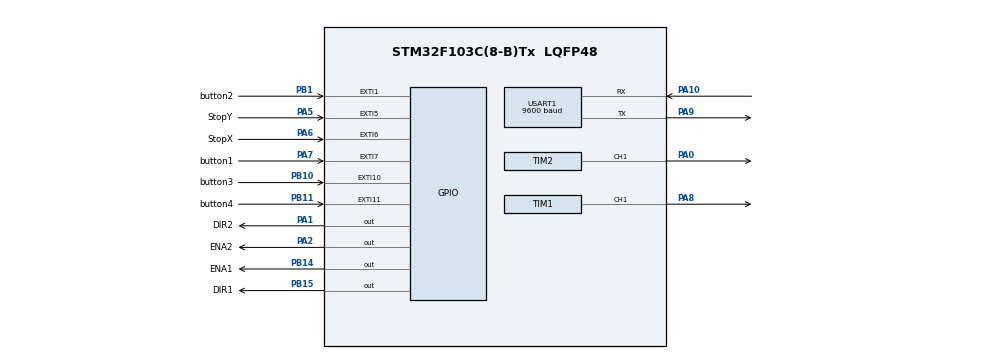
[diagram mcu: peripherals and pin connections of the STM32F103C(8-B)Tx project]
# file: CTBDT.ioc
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Mcu.Family=STM32F1
Mcu.Name=STM32F103C(8-B)Tx
Mcu.Package=LQFP48
NVIC.EXTI15_10_IRQn=true\:0\:0\:false\:false\:true\:true\:true\:true
NVIC.EXTI1_IRQn=true\:0\:0\:false\:false\:true\:true\:true\:true
NVIC.EXTI9_5_IRQn=true\:0\:0\:false\:false\:true\:true\:true\:true
NVIC.PVD_IRQn=true\:0\:0\:false\:false\:true\:true\:true\:true
NVIC.PriorityGroup=NVIC_PRIORITYGROUP_4
NVIC.TIM1_BRK_IRQn=true\:0\:0\:false\:false\:true\:true\:true\:true
NVIC.TIM1_CC_IRQn=true\:0\:0\:false\:false\:true\:true\:true\:true
NVIC.TIM1_UP_IRQn=true\:0\:0\:false\:false\:true\:true\:true\:true
NVIC.TIM2_IRQn=true\:0\:0\:false\:false\:true\:true\:true\:true
NVIC.USART1_IRQn=true\:0\:0\:false\:false\:true\:true\:true\:true
PA0-WKUP.Signal=S_TIM2_CH1_ETR
PA1.GPIO_Label=DIR2
PA1.GPIO_PuPd=GPIO_PULLUP
PA1.Signal=GPIO_Output
PA10.Mode=Asynchronous
PA10.Signal=USART1_RX
PA13.Mode=Serial_Wire
PA13.Signal=SYS_JTMS-SWDIO
PA14.Mode=Serial_Wire
PA14.Signal=SYS_JTCK-SWCLK
PA2.GPIO_Label=ENA2
PA2.GPIO_PuPd=GPIO_PULLUP
PA2.Signal=GPIO_Output
PA5.GPIO_Label=StopY
PA5.Signal=GPXTI5
PA6.GPIO_Label=StopX
PA6.GPIO_ModeDefaultEXTI=GPIO_MODE_IT_FALLING
PA6.GPIO_PuPd=GPIO_PULLUP
PA6.Signal=GPXTI6
PA7.GPIO_Label=button1
PA7.GPIO_ModeDefaultEXTI=GPIO_MODE_IT_FALLING
PA7.GPIO_PuPd=GPIO_PULLUP
PA7.Signal=GPXTI7
PA8.Signal=S_TIM1_CH1
PA9.Mode=Asynchronous
PA9.Signal=USART1_TX
PB1.GPIO_Label=button2
PB1.GPIO_ModeDefaultEXTI=GPIO_MODE_IT_FALLING
PB1.GPIO_PuPd=GPIO_PULLUP
PB1.Signal=GPXTI1
PB10.GPIO_Label=button3
PB10.GPIO_ModeDefaultEXTI=GPIO_MODE_IT_FALLING
PB10.GPIO_PuPd=GPIO_PULLUP
PB10.Signal=GPXTI10
PB11.GPIO_Label=button4
PB11.GPIO_ModeDefaultEXTI=GPIO_MODE_IT_FALLING
PB11.GPIO_PuPd=GPIO_PULLUP
PB11.Signal=GPXTI11
PB14.GPIO_Label=ENA1
PB14.GPIO_PuPd=GPIO_PULLUP
PB14.Signal=GPIO_Output
PB15.GPIO_Label=DIR1
PB15.GPIO_PuPd=GPIO_PULLUP
PB15.Signal=GPIO_Output
PD0-OSC_IN.Mode=HSE-External-Oscillator
PD0-OSC_IN.Signal=RCC_OSC_IN
PD1-OSC_OUT.Mode=HSE-External-Oscillator
PD1-OSC_OUT.Signal=RCC_OSC_OUT
ProjectManager.HeapSize=0x200
ProjectManager.StackSize=0x400
ProjectManager.TargetToolchain=STM32CubeIDE
RCC.APB1Freq_Value=8000000
RCC.APB2Freq_Value=8000000
SH.S_TIM1_CH1.0=TIM1_CH1,PWM Generation1 CH1
SH.S_TIM2_CH1_ETR.0=TIM2_CH1,PWM Generation1 CH1
TIM1.AutoReloadPreload=TIM_AUTORELOAD_PRELOAD_ENABLE
TIM1.Channel-PWM\ Generation1\ CH1=TIM_CHANNEL_1
TIM1.Period=1000-1
TIM1.Prescaler=8
TIM1.Pulse-PWM\ Generation1\ CH1=500-1
TIM2.AutoReloadPreload=TIM_AUTORELOAD_PRELOAD_ENABLE
TIM2.Channel-PWM\ Generation1\ CH1=TIM_CHANNEL_1
TIM2.Period=1000-1
TIM2.Prescaler=8
TIM2.Pulse-PWM\ Generation1\ CH1=500-1
USART1.BaudRate=9600
USART1.VirtualMode=VM_ASYNC
VP_TIM1_VS_ClockSourceINT.Mode=Internal
VP_TIM2_VS_ClockSourceINT.Mode=Internal
board=custom

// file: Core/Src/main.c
/* USER CODE BEGIN Header */
/**
  ******************************************************************************
  * @file           : main.c
  * @brief          : Main program body
  ******************************************************************************
  * @attention
  *
  * Copyright (c) 2025 STMicroelectronics.
  * All rights reserved.
  *
  * This software is licensed under terms that can be found in the LICENSE file
  * in the root directory of this software component.
  * If no LICENSE file comes with this software, it is provided AS-IS.
  *
  ******************************************************************************
  */
/* USER CODE END Header */
#include "main.h"

/* USER CODE BEGIN Includes */
#include "math.h"
#include <string.h>
/* USER CODE END Includes */

/* USER CODE BEGIN PTD */
volatile uint16_t x_value = 0;
volatile uint16_t y_value = 0;
volatile uint16_t x_go = 0;
volatile uint16_t y_go = 0;
volatile uint8_t x_done = 0;
volatile uint8_t y_done = 0;
volatile float x_pre = 0;
volatile float y_pre = 0;
volatile int endX=0;
volatile int endY=0;
char rxByte=0;
/* USER CODE END PTD */

TIM_HandleTypeDef htim1;
TIM_HandleTypeDef htim2;

UART_HandleTypeDef huart1;

/* USER CODE BEGIN PV */
//defind struct to manager mode1, mode2, mode3, mode4 using flag
typedef enum{
	IDLE = 0,
	DRAW_CIRCLE,
	DRAW_SQUARE,
	DRAW_RECTANGLE,
	DRAW_START,
} RobotState;

volatile RobotState current_mode = IDLE;
/* USER CODE END PV */

void SystemClock_Config(void);
static void MX_GPIO_Init(void);
static void MX_TIM1_Init(void);
static void MX_TIM2_Init(void);
static void MX_USART1_UART_Init(void);

/* USER CODE BEGIN 0 */
void PWM_SetARR_Pulse(TIM_HandleTypeDef *htim, uint32_t arr, uint32_t channel);
void GoHome();
void GoLinerX(float y);
void GoLinerY(float y);
void GoDiagonal(float x, float y);
void DrawSquar(float a);
void DrawRectangle(float a, float b);
void DrawCircle(float a);
void DrawStar();
/* USER CODE END 0 */

int main(void)
{

  /* MCU Configuration--------------------------------------------------------*/

  /* Reset of all peripherals, Initializes the Flash interface and the Systick. */
  HAL_Init();

  /* Configure the system clock */
  SystemClock_Config();

  /* Initialize all configured peripherals */
  MX_GPIO_Init();
  MX_TIM1_Init();
  MX_TIM2_Init();
  MX_USART1_UART_Init();
  /* USER CODE BEGIN 2 */
  HAL_GPIO_WritePin(ENA1_GPIO_Port, ENA1_Pin, GPIO_PIN_SET);
  HAL_GPIO_WritePin(ENA2_GPIO_Port, ENA2_Pin, GPIO_PIN_SET);

  /* USER CODE END 2 */

  /* Infinite loop */
  while (1)
  {

    /* USER CODE BEGIN 3 */
//	  HAL_Delay(200);
//		  GoHome();
//	  HAL_Delay(200);
	  switch(current_mode){
		  case DRAW_CIRCLE:
			  GoHome();
			  DrawCircle(3);
			  HAL_Delay(1);
			  current_mode = IDLE;
			  break;
		  case DRAW_SQUARE:
			  GoHome();
			  DrawSquar(3);
			  HAL_Delay(1);
			  current_mode = IDLE;
			  break;
		  case DRAW_RECTANGLE:
			  GoHome();
			  DrawRectangle(3,4);
			  HAL_Delay(1);
			  current_mode = IDLE;
			  break;
		  case DRAW_START:
			  GoHome();
			  DrawStar();
			  HAL_Delay(1);
			  current_mode = IDLE;
			  break;
		  default:
			  break;
	  }

  }
  /* USER CODE END 3 */
}

void SystemClock_Config(void)
{
  RCC_OscInitTypeDef RCC_OscInitStruct = {0};
  RCC_ClkInitTypeDef RCC_ClkInitStruct = {0};

  /** Initializes the RCC Oscillators according to the specified parameters
  * in the RCC_OscInitTypeDef structure.
  */
  RCC_OscInitStruct.OscillatorType = RCC_OSCILLATORTYPE_HSI;
  RCC_OscInitStruct.HSIState = RCC_HSI_ON;
  RCC_OscInitStruct.HSICalibrationValue = RCC_HSICALIBRATION_DEFAULT;
  RCC_OscInitStruct.PLL.PLLState = RCC_PLL_NONE;
  if (HAL_RCC_OscConfig(&RCC_OscInitStruct) != HAL_OK)
  {
    Error_Handler();
  }

  /** Initializes the CPU, AHB and APB buses clocks
  */
  RCC_ClkInitStruct.ClockType = RCC_CLOCKTYPE_HCLK|RCC_CLOCKTYPE_SYSCLK
                              |RCC_CLOCKTYPE_PCLK1|RCC_CLOCKTYPE_PCLK2;
  RCC_ClkInitStruct.SYSCLKSource = RCC_SYSCLKSOURCE_HSI;
  RCC_ClkInitStruct.AHBCLKDivider = RCC_SYSCLK_DIV1;
  RCC_ClkInitStruct.APB1CLKDivider = RCC_HCLK_DIV1;
  RCC_ClkInitStruct.APB2CLKDivider = RCC_HCLK_DIV1;

  if (HAL_RCC_ClockConfig(&RCC_ClkInitStruct, FLASH_LATENCY_0) != HAL_OK)
  {
    Error_Handler();
  }
}

static void MX_TIM1_Init(void)
{

  TIM_ClockConfigTypeDef sClockSourceConfig = {0};
  TIM_MasterConfigTypeDef sMasterConfig = {0};
  TIM_OC_InitTypeDef sConfigOC = {0};
  TIM_BreakDeadTimeConfigTypeDef sBreakDeadTimeConfig = {0};

  htim1.Instance = TIM1;
  htim1.Init.Prescaler = 8;
  htim1.Init.CounterMode = TIM_COUNTERMODE_UP;
  htim1.Init.Period = 1000-1;
  htim1.Init.ClockDivision = TIM_CLOCKDIVISION_DIV1;
  htim1.Init.RepetitionCounter = 0;
  htim1.Init.AutoReloadPreload = TIM_AUTORELOAD_PRELOAD_ENABLE;
  if (HAL_TIM_Base_Init(&htim1) != HAL_OK)
  {
    Error_Handler();
  }
  sClockSourceConfig.ClockSource = TIM_CLOCKSOURCE_INTERNAL;
  if (HAL_TIM_ConfigClockSource(&htim1, &sClockSourceConfig) != HAL_OK)
  {
    Error_Handler();
  }
  if (HAL_TIM_PWM_Init(&htim1) != HAL_OK)
  {
    Error_Handler();
  }
  sMasterConfig.MasterOutputTrigger = TIM_TRGO_RESET;
  sMasterConfig.MasterSlaveMode = TIM_MASTERSLAVEMODE_DISABLE;
  if (HAL_TIMEx_MasterConfigSynchronization(&htim1, &sMasterConfig) != HAL_OK)
  {
    Error_Handler();
  }
  sConfigOC.OCMode = TIM_OCMODE_PWM1;
  sConfigOC.Pulse = 500-1;
  sConfigOC.OCPolarity = TIM_OCPOLARITY_HIGH;
  sConfigOC.OCNPolarity = TIM_OCNPOLARITY_HIGH;
  sConfigOC.OCFastMode = TIM_OCFAST_DISABLE;
  sConfigOC.OCIdleState = TIM_OCIDLESTATE_RESET;
  sConfigOC.OCNIdleState = TIM_OCNIDLESTATE_RESET;
  if (HAL_TIM_PWM_ConfigChannel(&htim1, &sConfigOC, TIM_CHANNEL_1) != HAL_OK)
  {
    Error_Handler();
  }
  sBreakDeadTimeConfig.OffStateRunMode = TIM_OSSR_DISABLE;
  sBreakDeadTimeConfig.OffStateIDLEMode = TIM_OSSI_DISABLE;
  sBreakDeadTimeConfig.LockLevel = TIM_LOCKLEVEL_OFF;
  sBreakDeadTimeConfig.DeadTime = 0;
  sBreakDeadTimeConfig.BreakState = TIM_BREAK_DISABLE;
  sBreakDeadTimeConfig.BreakPolarity = TIM_BREAKPOLARITY_HIGH;
  sBreakDeadTimeConfig.AutomaticOutput = TIM_AUTOMATICOUTPUT_DISABLE;
  if (HAL_TIMEx_ConfigBreakDeadTime(&htim1, &sBreakDeadTimeConfig) != HAL_OK)
  {
    Error_Handler();
  }
  HAL_TIM_MspPostInit(&htim1);

}

static void MX_TIM2_Init(void)
{

  TIM_ClockConfigTypeDef sClockSourceConfig = {0};
  TIM_MasterConfigTypeDef sMasterConfig = {0};
  TIM_OC_InitTypeDef sConfigOC = {0};

  htim2.Instance = TIM2;
  htim2.Init.Prescaler = 8;
  htim2.Init.CounterMode = TIM_COUNTERMODE_UP;
  htim2.Init.Period = 1000-1;
  htim2.Init.ClockDivision = TIM_CLOCKDIVISION_DIV1;
  htim2.Init.AutoReloadPreload = TIM_AUTORELOAD_PRELOAD_ENABLE;
  if (HAL_TIM_Base_Init(&htim2) != HAL_OK)
  {
    Error_Handler();
  }
  sClockSourceConfig.ClockSource = TIM_CLOCKSOURCE_INTERNAL;
  if (HAL_TIM_ConfigClockSource(&htim2, &sClockSourceConfig) != HAL_OK)
  {
    Error_Handler();
  }
  if (HAL_TIM_PWM_Init(&htim2) != HAL_OK)
  {
    Error_Handler();
  }
  sMasterConfig.MasterOutputTrigger = TIM_TRGO_RESET;
  sMasterConfig.MasterSlaveMode = TIM_MASTERSLAVEMODE_DISABLE;
  if (HAL_TIMEx_MasterConfigSynchronization(&htim2, &sMasterConfig) != HAL_OK)
  {
    Error_Handler();
  }
  sConfigOC.OCMode = TIM_OCMODE_PWM1;
  sConfigOC.Pulse = 500-1;
  sConfigOC.OCPolarity = TIM_OCPOLARITY_HIGH;
  sConfigOC.OCFastMode = TIM_OCFAST_DISABLE;
  if (HAL_TIM_PWM_ConfigChannel(&htim2, &sConfigOC, TIM_CHANNEL_1) != HAL_OK)
  {
    Error_Handler();
  }
  HAL_TIM_MspPostInit(&htim2);

}

static void MX_USART1_UART_Init(void)
{

  huart1.Instance = USART1;
  huart1.Init.BaudRate = 9600;
  huart1.Init.WordLength = UART_WORDLENGTH_8B;
  huart1.Init.StopBits = UART_STOPBITS_1;
  huart1.Init.Parity = UART_PARITY_NONE;
  huart1.Init.Mode = UART_MODE_TX_RX;
  huart1.Init.HwFlowCtl = UART_HWCONTROL_NONE;
  huart1.Init.OverSampling = UART_OVERSAMPLING_16;
  if (HAL_UART_Init(&huart1) != HAL_OK)
  {
    Error_Handler();
  }

}

static void MX_GPIO_Init(void)
{
  GPIO_InitTypeDef GPIO_InitStruct = {0};

  /* GPIO Ports Clock Enable */
  __HAL_RCC_GPIOD_CLK_ENABLE();
  __HAL_RCC_GPIOA_CLK_ENABLE();
  __HAL_RCC_GPIOB_CLK_ENABLE();

  /*Configure GPIO pin Output Level */
  HAL_GPIO_WritePin(GPIOA, DIR2_Pin|ENA2_Pin, GPIO_PIN_RESET);

  /*Configure GPIO pin Output Level */
  HAL_GPIO_WritePin(GPIOB, ENA1_Pin|DIR1_Pin, GPIO_PIN_RESET);

  /*Configure GPIO pins : DIR2_Pin ENA2_Pin */
  GPIO_InitStruct.Pin = DIR2_Pin|ENA2_Pin;
  GPIO_InitStruct.Mode = GPIO_MODE_OUTPUT_PP;
  GPIO_InitStruct.Pull = GPIO_PULLUP;
  GPIO_InitStruct.Speed = GPIO_SPEED_FREQ_LOW;
  HAL_GPIO_Init(GPIOA, &GPIO_InitStruct);

  /*Configure GPIO pin : StopY_Pin */
  GPIO_InitStruct.Pin = StopY_Pin;
  GPIO_InitStruct.Mode = GPIO_MODE_IT_RISING;
  GPIO_InitStruct.Pull = GPIO_NOPULL;
  HAL_GPIO_Init(StopY_GPIO_Port, &GPIO_InitStruct);

  /*Configure GPIO pins : StopX_Pin button1_Pin */
  GPIO_InitStruct.Pin = StopX_Pin|button1_Pin;
  GPIO_InitStruct.Mode = GPIO_MODE_IT_FALLING;
  GPIO_InitStruct.Pull = GPIO_PULLUP;
  HAL_GPIO_Init(GPIOA, &GPIO_InitStruct);

  /*Configure GPIO pins : button2_Pin button3_Pin button4_Pin */
  GPIO_InitStruct.Pin = button2_Pin|button3_Pin|button4_Pin;
  GPIO_InitStruct.Mode = GPIO_MODE_IT_FALLING;
  GPIO_InitStruct.Pull = GPIO_PULLUP;
  HAL_GPIO_Init(GPIOB, &GPIO_InitStruct);

  /*Configure GPIO pins : ENA1_Pin DIR1_Pin */
  GPIO_InitStruct.Pin = ENA1_Pin|DIR1_Pin;
  GPIO_InitStruct.Mode = GPIO_MODE_OUTPUT_PP;
  GPIO_InitStruct.Pull = GPIO_PULLUP;
  GPIO_InitStruct.Speed = GPIO_SPEED_FREQ_LOW;
  HAL_GPIO_Init(GPIOB, &GPIO_InitStruct);

  /* EXTI interrupt init*/
  HAL_NVIC_SetPriority(EXTI1_IRQn, 0, 0);
  HAL_NVIC_EnableIRQ(EXTI1_IRQn);

  HAL_NVIC_SetPriority(EXTI9_5_IRQn, 0, 0);
  HAL_NVIC_EnableIRQ(EXTI9_5_IRQn);

  HAL_NVIC_SetPriority(EXTI15_10_IRQn, 0, 0);
  HAL_NVIC_EnableIRQ(EXTI15_10_IRQn);

}

/* USER CODE BEGIN 4 */
void WaitX() {
	while (!x_done){
		HAL_Delay(1);
	}
	x_done = 0;
}

void WaitY() {
	while (!y_done){
		HAL_Delay(1);
	}
	y_done = 0;
}

void printf_uart(const char *mess) {
    HAL_UART_Transmit(&huart1, (uint8_t *)mess, strlen(mess), 500);
}

void HAL_UART_RxCpltCallback(UART_HandleTypeDef *huart){
	 if (huart->Instance == USART1){

		 HAL_UART_Receive_IT(&huart1, (uint8_t*)&rxByte, 1);
	 }
}

void HAL_GPIO_EXTI_Callback(uint16_t GPIO_Pin){
	if(GPIO_Pin==StopX_Pin){
		HAL_GPIO_WritePin(ENA1_GPIO_Port, ENA1_Pin, GPIO_PIN_SET);
	}
	if(GPIO_Pin==StopY_Pin){
		HAL_GPIO_WritePin(ENA2_GPIO_Port, ENA2_Pin, GPIO_PIN_SET);
	}

	if(GPIO_Pin == button1_Pin){
		current_mode = DRAW_CIRCLE;
	}

	if(GPIO_Pin == button2_Pin){
		current_mode = DRAW_RECTANGLE;
	}

	if(GPIO_Pin == button3_Pin){
		current_mode = DRAW_SQUARE;
	}

	if(GPIO_Pin == button4_Pin){
		current_mode = DRAW_START;
	}
}

//void PWM_SetARR_Pulse(TIM_HandleTypeDef *htim,uint32_t arr,uint32_t channel)
//{
//	uint32_t pulse=arr/2;
//    __HAL_TIM_SET_AUTORELOAD(htim, arr);   // thay đổi ARR (chu kỳ PWM)
//    __HAL_TIM_SET_COMPARE(htim, channel, pulse); // thay đổi Pulse (duty)
//
//    htim->Instance->EGR = TIM_EGR_UG;       // cập nhật ngay lập tức
//}

void PWM_SetARR_Pulse(TIM_HandleTypeDef *htim, uint32_t arr, uint32_t channel)
{
    if (htim == NULL || arr < 20) return;

    __HAL_TIM_DISABLE(htim);

    __HAL_TIM_SET_AUTORELOAD(htim, arr);
    __HAL_TIM_SET_COMPARE(htim, channel, arr / 2);

    __HAL_TIM_SET_COUNTER(htim, 0);
    htim->Instance->EGR = TIM_EGR_UG;   // 🔥 CỰC KỲ QUAN TRỌNG

    __HAL_TIM_ENABLE(htim);
}

void GoLinerX(float x){
	if(fabs(x)<=7.5){
		x_go=0;
		x_done = 0;
		if(x-x_pre>=0){
			HAL_GPIO_WritePin(DIR1_GPIO_Port, DIR1_Pin,SET);
		}
		else if(x-x_pre<0){
			HAL_GPIO_WritePin(DIR1_GPIO_Port, DIR1_Pin,RESET);
		}
		x_value=fabs((x-x_pre)*14000/7.5);
		x_pre=x;
		HAL_GPIO_WritePin(ENA1_GPIO_Port, ENA1_Pin, GPIO_PIN_RESET);
		HAL_TIM_PWM_Start_IT(&htim1, TIM_CHANNEL_1);
	}
}

void GoLinerY(float y){
	if(fabs(y)<=7.5){
		y_go=0;
		y_done = 0;
		if(y-y_pre>0){
			HAL_GPIO_WritePin(DIR2_GPIO_Port, DIR2_Pin,SET);
		}
		else if(y-y_pre<0){
			HAL_GPIO_WritePin(DIR2_GPIO_Port, DIR2_Pin,RESET);
		}
		y_value=fabs((y-y_pre)*14000/7.5);
		y_pre=y;
		HAL_GPIO_WritePin(ENA2_GPIO_Port, ENA2_Pin, GPIO_PIN_RESET);
		HAL_TIM_PWM_Start_IT(&htim2, TIM_CHANNEL_1);
	}
}

//void GoDiagonal(float dx, float dy)
//{
//    if (fabs(dx) < 0.0001f) { GoLinerY(dy); return; }
//    if (fabs(dy) < 0.0001f) { GoLinerX(dx); return; }
//
//    float sx = fabs(dx);
//    float sy = fabs(dy);
//    float sum = sx + sy;
//
//    float ratioX = sx / sum;
//    float ratioY = sy / sum;
//
//    uint32_t baseARR = 1000 - 1;   // ARR gốc (đang dùng)
//    uint32_t arrX = baseARR / ratioX;
//    uint32_t arrY = baseARR / ratioY;
//
//    if (arrX < 100) arrX = 100;    // chống quá nhanh
//    if (arrY < 100) arrY = 100;
//    if (arrX > 5000) arrX = 5000;  // chống quá chậm
//    if (arrY > 5000) arrY = 5000;
//
//    PWM_SetARR_Pulse(&htim1, arrX, TIM_CHANNEL_1);
//    PWM_SetARR_Pulse(&htim2, arrY, TIM_CHANNEL_1);
//
//    GoLinerX(dx);
//    GoLinerY(dy);
//
//    WaitX();
//    WaitY();
//
//    // trả về ARR gốc
//    PWM_SetARR_Pulse(&htim1, baseARR, TIM_CHANNEL_1);
//    PWM_SetARR_Pulse(&htim2, baseARR, TIM_CHANNEL_1);
//}
void GoDiagonal(float x, float y)
{
    float dx = x - x_pre;
    float dy = y - y_pre;

    if (fabs(dx) < 0.0001f && fabs(dy) < 0.0001f) return;

    // 🔒 XỬ LÝ TRƯỜNG HỢP 1 TRỤC
    if (fabs(dx) < 0.0001f) {
        GoLinerY(y);
        WaitY();
        return;
    }

    if (fabs(dy) < 0.0001f) {
        GoLinerX(x);
        WaitX();
        return;
    }

    // ⚡ TÍNH TỈ LỆ VÀ TỐC ĐỘ CHUẨN
    float sx = fabs(dx);
    float sy = fabs(dy);

    // Tốc độ cơ bản (có thể điều chỉnh)
    float baseSpeed = 1000.0f;  // Hz

    // Tính tốc độ cho từng trục dựa trên tỉ lệ
    // Trục có quãng đường nhỏ hơn sẽ chạy chậm hơn theo tỉ lệ
    float speedX, speedY;

    if (sx >= sy) {
        // X là trục dài hơn -> X chạy với tốc độ base
        speedX = baseSpeed;
        speedY = baseSpeed * (sy / sx);  // Y chậm hơn theo tỉ lệ
    } else {
        // Y là trục dài hơn -> Y chạy với tốc độ base
        speedY = baseSpeed;
        speedX = baseSpeed * (sx / sy);  // X chậm hơn theo tỉ lệ
    }

    // Chuyển đổi tốc độ sang ARR (ARR = Timer_Clock / Frequency)
    // ARR càng nhỏ = tần số càng cao = tốc độ càng nhanh
    uint32_t arrX = (uint32_t)(baseSpeed * 1000.0f / speedX);
    uint32_t arrY = (uint32_t)(baseSpeed * 1000.0f / speedY);

    // Giới hạn an toàn
    if (arrX < 200) arrX = 200;
    if (arrY < 200) arrY = 200;
    if (arrX > 5000) arrX = 5000;
    if (arrY > 5000) arrY = 5000;

    // Cài đặt PWM
    PWM_SetARR_Pulse(&htim1, arrX, TIM_CHANNEL_1);
    PWM_SetARR_Pulse(&htim2, arrY, TIM_CHANNEL_1);
    HAL_Delay(1);

    // Bắt đầu di chuyển đồng thời cả 2 trục
    GoLinerX(x);
    GoLinerY(y);

    // Đợi cả 2 trục hoàn thành
    WaitX();
    WaitY();
}

void GoHome(){
	GoLinerX(0);
	GoLinerY(0);
	WaitX();
	WaitY();
//	HAL_TIM_PWM_Start_IT(&htim1, TIM_CHANNEL_1);
//	HAL_TIM_PWM_Start_IT(&htim2, TIM_CHANNEL_2);
}

void DrawSquar(float a){
    // Cạnh 1
    GoLinerX(a);
    WaitX();          // CHỜ X CHẠY XONG

    // Cạnh 2
    GoLinerY(a);
    WaitY();          // CHỜ Y CHẠY XONG

    // Cạnh 3
    GoLinerX(0);
    WaitX();

    // Cạnh 4
    GoLinerY(0);
    WaitY();
}

void DrawRectangle(float a, float b){
	GoLinerX(a);
	WaitX();

	GoLinerY(b);
	WaitY();

	GoLinerX(0);
	WaitX();

	GoLinerY(0);
	WaitY();
}
void DrawCircle(float r)
{
    float cx = 4.0f;
    float cy = 4.0f;
    float step = 0.1f;

    // Cung 1: Phần tư 4 → 1 (0° → 90°)
    for(float x = cx + r; x >= cx; x -= step) {
        float y = cy + sqrtf(r*r - (x-cx)*(x-cx));
        GoDiagonal(x, y);
        HAL_Delay(1);
    }

    // Cung 2: Phần tư 1 → 2 (90° → 180°)
    for(float x = cx; x >= cx - r; x -= step) {
        float y = cy + sqrtf(r*r - (x-cx)*(x-cx));
        GoDiagonal(x, y);
        HAL_Delay(1);
    }

    // Cung 3: Phần tư 2 → 3 (180° → 270°)
    for(float x = cx - r; x <= cx; x += step) {
        float y = cy - sqrtf(r*r - (x-cx)*(x-cx));
        GoDiagonal(x, y);
        HAL_Delay(1);
    }

    // Cung 4: Phần tư 3 → 4 (270° → 360°)
    for(float x = cx; x <= cx + r; x += step) {
        float y = cy - sqrtf(r*r - (x-cx)*(x-cx));
        GoDiagonal(x, y);
        HAL_Delay(1);
    }
}

void DrawStar(){
	GoDiagonal(1,1);
	HAL_Delay(1);

	GoDiagonal(3,5);
	HAL_Delay(1);

	GoDiagonal(5,1);
	HAL_Delay(1);

	GoDiagonal(1,4);
	HAL_Delay(1);

	GoDiagonal(4,5);
	HAL_Delay(1);

	GoDiagonal(1,1);
	HAL_Delay(1);

}
void HAL_TIM_PWM_PulseFinishedCallback(TIM_HandleTypeDef *htim){
	if(htim->Instance == TIM1 ){
		if(x_go==x_value){
			HAL_GPIO_WritePin(ENA1_GPIO_Port, ENA1_Pin,SET);
			HAL_TIM_PWM_Stop_IT(&htim1, TIM_CHANNEL_1);
			//PWM_SetPSC(8,&htim1);
			PWM_SetARR_Pulse(&htim1, 1000, TIM_CHANNEL_1);

			x_done = 1;
		}
		x_go++;
	}
	if(htim->Instance == TIM2 ){
		if(y_go==y_value){
			HAL_GPIO_WritePin(ENA2_GPIO_Port, ENA2_Pin,SET);
			HAL_TIM_PWM_Stop_IT(&htim2, TIM_CHANNEL_1);
			//PWM_SetPSC(8,&htim2);
			PWM_SetARR_Pulse(&htim2, 1000, TIM_CHANNEL_1);
			y_done = 1;
		}
		y_go++;
	}
}
/* USER CODE END 4 */

void Error_Handler(void)
{
  __disable_irq();
  while (1)
  {
  }
}
